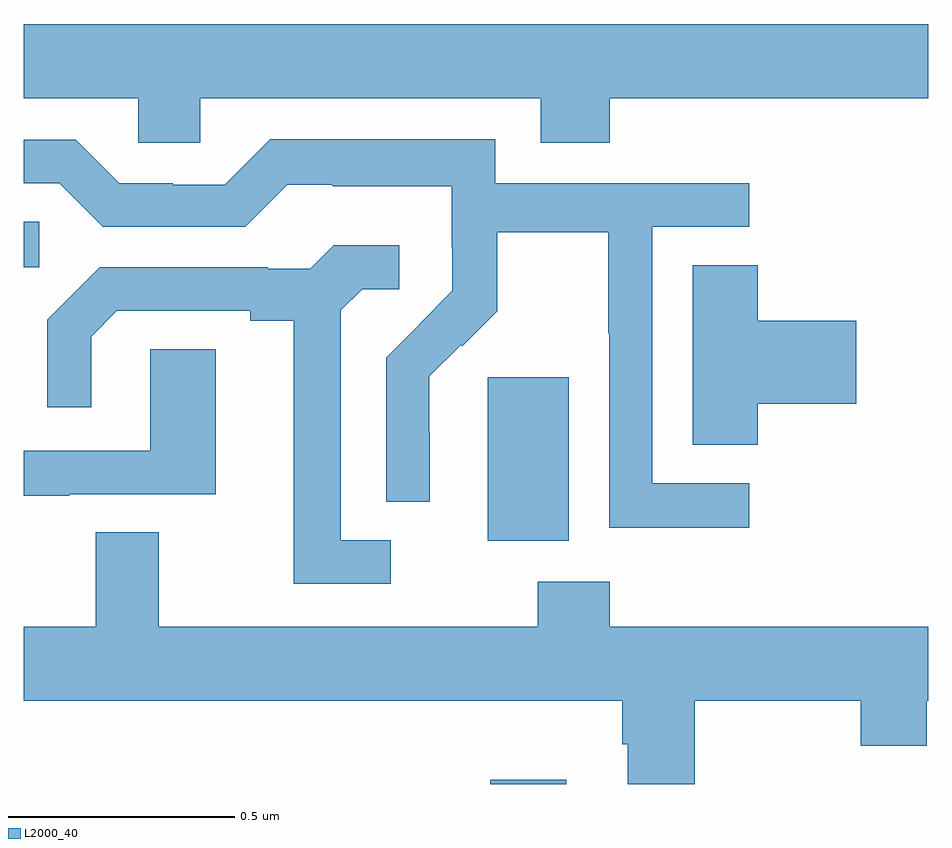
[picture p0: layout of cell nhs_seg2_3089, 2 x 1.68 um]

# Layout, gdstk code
import gdstk
lib = gdstk.Library(unit=1e-6, precision=1e-09)
def R(c, l, rs):  # rectangles x0, y0, x1, y1
    for r in rs: c.add(gdstk.rectangle(r[:2], r[2:], *l))
def P(c, l, *ps):  # polygons
    for p in ps: c.add(gdstk.Polygon(p, *l))
L2000_40 = (2000, 40)

nhs_seg2_3089 = lib.new_cell('nhs_seg2_3089')
R(nhs_seg2_3089, L2000_40, [(150.032,632.8,150.199,632.809), (150.026,633.338,150.205,633.699), (149,633.942,149.035,634.043)])
P(nhs_seg2_3089, L2000_40, [(150.296,634.316),(151,634.316),(151,634.48),(149,634.48),(149,634.316),(149.253,634.316),(149.253,634.218),(149.391,634.218),(149.391,634.316),(150.143,634.316),(150.143,634.217),(150.296,634.217)],
  [(150.604,633.465),(150.39,633.465),(150.39,634.032),(150.604,634.032),(150.604,634.128),(150.042,634.128),(150.042,634.225),(149.545,634.225),(149.445,634.125),(149.33,634.125),(149.33,634.128),(149.211,634.128),(149.115,634.224),(149,634.224),(149,634.128),(149.079,634.128),(149.175,634.032),(149.49,634.032),(149.583,634.125),(149.683,634.125),(149.683,634.121),(149.946,634.121),(149.946,633.987),(149.948,633.987),(149.948,633.89),(149.874,633.816),(149.875,633.815),(149.802,633.742),(149.802,633.424),(149.898,633.424),(149.898,633.578),(149.897,633.578),(149.897,633.701),(149.967,633.771),(149.97,633.768),(150.047,633.845),(150.047,634.02),(150.292,634.02),(150.292,633.796),(150.294,633.796),(150.294,633.367),(150.604,633.367)],
  [(149.812,633.339),(149.701,633.339),(149.701,633.847),(149.748,633.894),(149.83,633.894),(149.83,633.991),(149.686,633.991),(149.634,633.939),(149.54,633.939),(149.54,633.942),(149.168,633.942),(149.052,633.826),(149.052,633.633),(149.149,633.633),(149.149,633.789),(149.206,633.846),(149.501,633.846),(149.501,633.824),(149.597,633.824),(149.597,633.243),(149.812,633.243)],
  [(150.623,633.641),(150.841,633.641),(150.841,633.824),(150.623,633.824),(150.623,633.947),(150.479,633.947),(150.479,633.55),(150.623,633.55)],
  [(149.101,633.441),(149.425,633.441),(149.425,633.761),(149.28,633.761),(149.28,633.537),(149,633.537),(149,633.437),(149.101,633.437)],
  [(150.296,633.247),(150.136,633.247),(150.136,633.148),(149.299,633.148),(149.299,633.356),(149.159,633.356),(149.159,633.148),(149,633.148),(149,632.984),(150.323,632.984),(150.323,632.888),(150.335,632.888),(150.335,632.8),(150.483,632.8),(150.483,632.984),(150.85,632.984),(150.85,632.885),(150.996,632.885),(150.996,632.984),(151,632.984),(151,633.148),(150.296,633.148)])

lib.write_gds('nhs_seg2_3089.gds')
